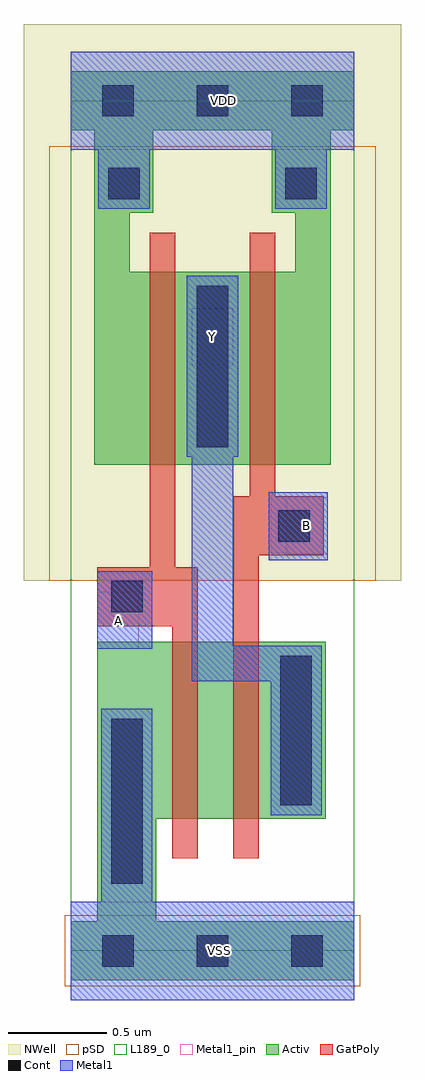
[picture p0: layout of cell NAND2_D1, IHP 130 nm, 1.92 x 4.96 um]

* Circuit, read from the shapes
.subckt NAND2_D1 A B VDD VSS Y
XM1 n1 A VSS VSS sg13_lv_nmos w=0.9u l=0.13u
XM2 Y B n1 VSS sg13_lv_nmos w=0.9u l=0.13u
XM3 Y A VDD VDD sg13_lv_pmos w=0.98u l=0.13u
XM4 VDD B Y VDD sg13_lv_pmos w=0.98u l=0.13u
.ends

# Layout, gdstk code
import gdstk
lib = gdstk.Library(unit=1e-6, precision=1e-09)
def R(c, l, rs):  # rectangles x0, y0, x1, y1
    for r in rs: c.add(gdstk.rectangle(r[:2], r[2:], *l))
def A(c, l, x, y, w, h, nx, ny, dx, dy):  # array of equal rectangles
    R(c, l, [(x+i*dx, y+j*dy, x+i*dx+w, y+j*dy+h) for i in range(nx) for j in range(ny)])
def P(c, l, *ps):  # polygons
    for p in ps: c.add(gdstk.Polygon(p, *l))
Activ = (1, 0)
GatPoly = (5, 0)
Cont = (6, 0)
Metal1 = (8, 0)
Metal1_pin = (8, 2)
pSD = (14, 0)
NWell = (31, 0)
L189_0 = (189, 0)

nand2_d1 = lib.new_cell('NAND2_D1')
P(nand2_d1, Activ, [(0,-0.15),(0,0.15),(0.135,0.15),(0.135,1.57),(1.295,1.57),(1.295,0.67),(0.435,0.67),(0.435,0.15),(1.44,0.15),(1.44,-0.15)],
  [(0.12,2.47),(0.12,4.17),(0.42,4.17),(0.42,3.75),(0.3,3.75),(0.3,3.45),(1.14,3.45),(1.14,3.75),(1.02,3.75),(1.02,4.17),(0,4.17),(0,4.47),(1.44,4.47),(1.44,4.17),(1.32,4.17),(1.32,2.47)])
P(nand2_d1, GatPoly, [(0.515,0.47),(0.515,1.65),(0.135,1.65),(0.135,1.95),(0.4,1.95),(0.4,3.65),(0.53,3.65),(0.53,1.95),(0.645,1.95),(0.645,0.47)],
  [(0.825,0.47),(0.825,2.31),(0.91,2.31),(0.91,3.65),(1.04,3.65),(1.04,2.31),(1.285,2.31),(1.285,2.01),(0.955,2.01),(0.955,0.47)])
A(nand2_d1, Cont, 0.16, -0.08, 0.16, 0.16, 3, 2, 0.48, 4.32)
R(nand2_d1, Cont, [(0.205,0.34,0.365,1.18), (1.065,0.74,1.225,1.5), (0.205,1.72,0.365,1.88), (1.055,2.08,1.215,2.24), (0.64,2.56,0.8,3.38), (0.19,3.82,0.35,3.98), (1.09,3.82,1.25,3.98)])
R(nand2_d1, Metal1, [(0.135,1.535,0.415,1.93), (1.005,1.985,1.305,2.33)])
P(nand2_d1, Metal1, [(0,-0.25),(0,0.25),(0.155,0.25),(0.155,1.23),(0.415,1.23),(0.415,0.25),(1.44,0.25),(1.44,-0.25)],
  [(1.015,0.69),(1.015,1.37),(0.615,1.37),(0.615,2.51),(0.59,2.51),(0.59,3.43),(0.85,3.43),(0.85,2.51),(0.825,2.51),(0.825,1.55),(1.275,1.55),(1.275,0.69)],
  [(0.14,3.77),(0.14,4.07),(0,4.07),(0,4.57),(1.44,4.57),(1.44,4.07),(1.3,4.07),(1.3,3.77),(1.04,3.77),(1.04,4.07),(0.4,4.07),(0.4,3.77)])
R(nand2_d1, Metal1_pin, [(0,-0.25,1.44,0.25), (0.135,1.535,0.345,1.825), (1.095,2.015,1.305,2.305), (0.615,2.975,0.825,3.265), (0,4.07,1.44,4.57)])
R(nand2_d1, pSD, [(-0.03,-0.18,1.47,0.18), (-0.11,1.88,1.55,4.09)])
R(nand2_d1, NWell, [(-0.24,1.88,1.68,4.71)])
R(nand2_d1, L189_0, [(0,0,1.44,4.32)])
nand2_d1.add(gdstk.Label('VDD', (0.775,4.32), layer=8, texttype=25))
nand2_d1.add(gdstk.Label('Y', (0.72,3.12), layer=8, texttype=25))
nand2_d1.add(gdstk.Label('B', (1.2,2.16), layer=8, texttype=25))
nand2_d1.add(gdstk.Label('A', (0.24,1.68), layer=8, texttype=25))
nand2_d1.add(gdstk.Label('VSS', (0.755,0), layer=8, texttype=25))

lib.write_gds('NAND2_D1.gds')
